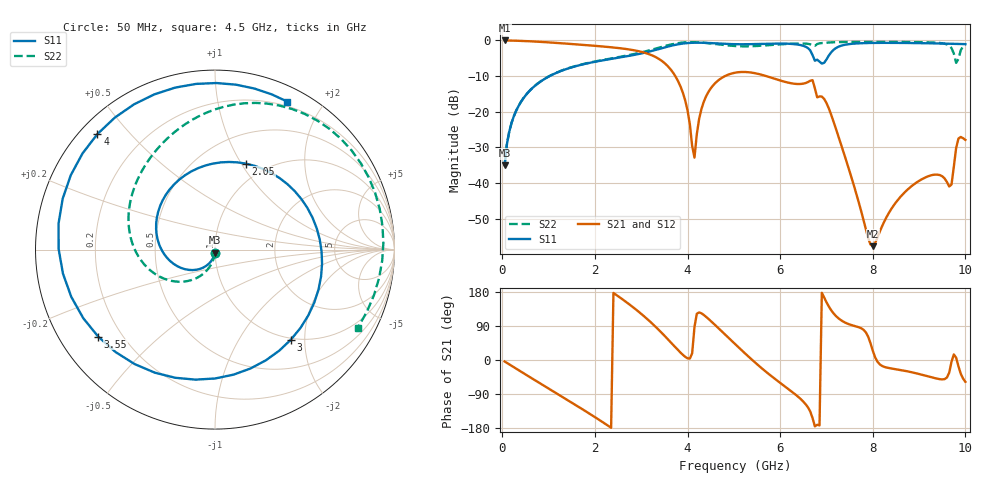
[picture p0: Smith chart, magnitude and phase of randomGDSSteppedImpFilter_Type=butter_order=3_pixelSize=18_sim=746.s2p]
! freq	dB(S11)	phase(S11)	dB(S12)	phase(S12)
!  dB(S21)	phase(S21)	dB(S22)	phase(S22)
!S-par simulation data
#  GHz  S  DB  R 50
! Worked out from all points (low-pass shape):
!   200 points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, 50 MHz to 10 GHz, reference 50 ohm
!   highest |S21| = -0.01 dB at 50 MHz (marker M1); lowest = -57.7 dB at 8 GHz (marker M2)
!   |S21| within 3 dB of the highest: start of sweep to 2.94 GHz
!   lowest |S11| = -35.0 dB at 50 MHz (marker M3), VSWR 1.04, Z = 49.8 - j1.77 ohm
!   |S11| at or under -10 dB: start of sweep to 1.021 GHz
!   |S22| runs from -35.0 to -0.4 dB; largest |S21 - S12| = 0
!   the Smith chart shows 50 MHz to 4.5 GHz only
!   S11 on the Smith chart (normalised r, x): 50 MHz: 1.00, -0.04; 2.05 GHz: 0.81, +1.05; 3 GHz: 0.97, -1.71; 3.55 GHz: 0.12, -0.33; 4 GHz: 0.05, +0.41; 4.5 GHz: 0.15, +1.59
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0.05  -34.97 -94.5  -0.01 -3.9  -0.01 -3.9  -34.96 -92.7
0.5  -15.45 -137.5  -0.18 -38.0  -0.18 -38.0  -15.42 -119.4
1.75  -6.68 101.7  -1.26 -131.4  -1.26 -131.4  -6.62 174.2
2.05  -5.86 70.1  -1.57 -154.6  -1.57 -154.6  -5.78 159.6
3  -3.66 -49.9  -3.19 121.8  -3.19 121.8  -3.36 112.0
3.4  -2.35 -116.0  -5.34 76.9  -5.34 76.9  -1.97 86.4
3.55  -1.81 -143.3  -6.90 58.0  -6.90 58.0  -1.43 74.6
4  -0.74 135.5  -19.59 4.5  -19.59 4.5  -0.50 30.6
4.15  -0.64 111.3  -32.84 87.1  -32.84 87.1  -0.49 13.8
4.5  -0.75 63.9  -13.46 103.2  -13.46 103.2  -0.85 -28.8
5.05  -1.06 10.6  -8.99 39.5  -8.99 39.5  -1.59 -109.5
5.6  -0.96 -29.8  -9.62 -21.6  -9.62 -21.6  -1.47 164.1
6.35  -1.11 -89.9  -12.19 -93.0  -12.19 -93.0  -0.89 79.3
6.7  -4.13 -153.2  -11.13 -153.3  -11.13 -153.3  -1.40 51.3
6.95  -6.27 83.1  -16.38 164.9  -16.38 164.9  -0.68 38.8
7.15  -2.67 -9.7  -22.63 123.5  -22.63 123.5  -0.51 26.5
7.45  -1.10 -58.8  -34.61 96.1  -34.61 96.1  -0.43 9.9
8  -0.70 -98.0  -57.65 24.6  -57.65 24.6  -0.39 -15.8
8.35  -0.68 -115.4  -48.29 -21.3  -48.29 -21.3  -0.40 -30.1
9.7  -0.94 -177.0  -40.40 -4.8  -40.40 -4.8  -2.15 -89.1
9.85  -1.00 175.3  -27.49 -16.5  -27.49 -16.5  -5.20 -59.3
10  -1.04 167.0  -27.88 -57.6  -27.88 -57.6  -1.16 -68.1
